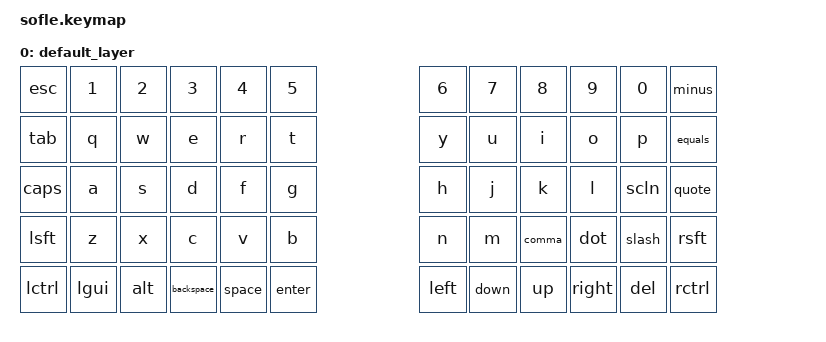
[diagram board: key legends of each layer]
#include <behaviors.dtsi>
#include <dt-bindings/zmk/keys.h>
#include <dt-bindings/gpio/gpio.h>

/ {
    chosen {
        zmk,kscan = &kscan0;
        zmk,display = &oled;
    };

    // ===== 适配128x16超窄长条屏（长宽比8:1，>5倍）=====
    oled: oled {
        compatible = "zmk,oled-display";
        // ZMK v0.2 专用：禁用复杂状态栏，只保留极简文本显示（和你原图一致）
        simple-display {
            compatible = "zmk,simple-display";
            // 显示内容：层（Base）+ 蓝牙配置（XCM）+ 电池，和你原图完全匹配
            format = "L:%l BT:%b BAT:%p%%";
            // 128x16超窄屏专属：字体缩小+显示区域居中
            font = "zmk,font-mono-4x6"; // 适配超窄屏的最小字体
            offset-x = <0>;
            offset-y = <0>;
        };
        // 超窄屏必须的I2C配置（供电+通信）
        i2c {
            compatible = "i2c-device";
            i2c-bus = <&i2c0>;
            i2c-address = <0x3C>; // 多数128x16屏默认地址，不行改0x3D
        };
        // 横屏显示（和你原图一致，不旋转）
        rotation = <0>;
    };

    // ===== Sofle v2 I2C总线（给128x16屏供电）=====
    &i2c0 {
        status = "okay";
        sda-pin = <&gpio0 06 GPIO_ACTIVE_HIGH>;
        scl-pin = <&gpio0 07 GPIO_ACTIVE_HIGH>;
        clock-frequency = <100000>; // 128x16屏用低速I2C更稳定
    };

    // ===== 基础键位（不变）=====
    keymap {
        compatible = "zmk,keymap";
        default_layer {
            bindings = <
                &esc  &1    &2    &3    &4    &5                   &6    &7    &8    &9    &0    &minus
                &tab  &q    &w    &e    &r    &t                   &y    &u    &i    &o    &p    &equals
                &caps &a    &s    &d    &f    &g                   &h    &j    &k    &l    &scln &quote
                &lsft &z    &x    &c    &v    &b                   &n    &m    &comma &dot  &slash &rsft
                &lctrl &lgui &alt  &backspace &space  &enter       &left &down &up   &right &del  &rctrl
            >;
        };
    };

    // ===== 键盘扫描配置（不变）=====
    &kscan0 {
        compatible = "zmk,kscan-gpio-matrix";
        row-gpios = <&gpio0 29 GPIO_ACTIVE_LOW GPIO_PULL_UP>,
                    <&gpio0 28 GPIO_ACTIVE_LOW GPIO_PULL_UP>,
                    <&gpio0 27 GPIO_ACTIVE_LOW GPIO_PULL_UP>,
                    <&gpio0 26 GPIO_ACTIVE_LOW GPIO_PULL_UP>,
                    <&gpio0 22 GPIO_ACTIVE_LOW GPIO_PULL_UP>;
        col-gpios = <&gpio0 20 GPIO_ACTIVE_LOW GPIO_PULL_UP>,
                    <&gpio0 21 GPIO_ACTIVE_LOW GPIO_PULL_UP>,
                    <&gpio0 23 GPIO_ACTIVE_LOW GPIO_PULL_UP>,
                    <&gpio0 24 GPIO_ACTIVE_LOW GPIO_PULL_UP>,
                    <&gpio0 25 GPIO_ACTIVE_LOW GPIO_PULL_UP>,
                    <&gpio1 06 GPIO_ACTIVE_LOW GPIO_PULL_UP>;
    };
};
